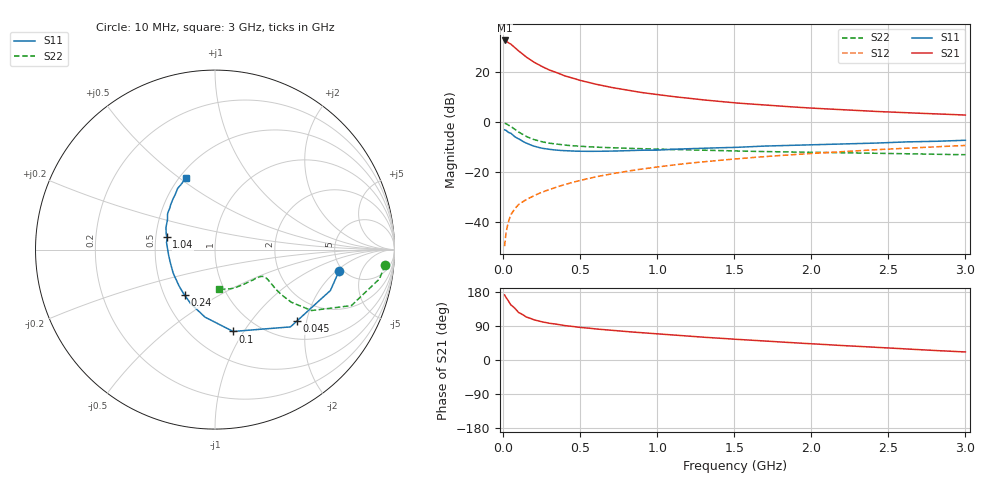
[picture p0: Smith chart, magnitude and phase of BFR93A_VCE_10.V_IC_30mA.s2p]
! Infineon Technologies  Discrete & RF Semiconductors
! BFR93A
! VCE =  10. V,  IC =  30 mA
! Common Emitter S-Parameters:  Nov 2015
# GHz  S  MA  R  50
!  f  S11  S21  S12  S22
! GHz  MAG  ANG  MAG  ANG  MAG  ANG  MAG  ANG
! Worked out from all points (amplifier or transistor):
!   180 points, 10 MHz to 3 GHz, reference 50 ohm
!   highest |S21| = 32.9 dB at 10 MHz (marker M1)
!   |S21| within 3 dB of that: start of sweep to 78.02 MHz
!   unconditionally stable (mu >= 1): 386.1 MHz to 2.74 GHz
!   at 160 MHz: K = 0.73, MSG = 28.3 dB, |S12| = -30.8 dB
!   at 1.22 GHz: K = 1.08, MAG = 11.2 dB, |S12| = -16.4 dB
!   at 3 GHz: K = 0.98, MSG = 6.1 dB, |S12| = -9.4 dB
!   S11 on the Smith chart (normalised r, x): 10 MHz: 4.61, -2.19; 45 MHz: 1.40, -1.76; 100 MHz: 0.77, -0.90; 240 MHz: 0.63, -0.36; 1.04 GHz: 0.57, +0.09; 3 GHz: 0.54, +0.53
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0.01  0.701 -9.9  44.12 171.6  0.0032 83.4  0.9509 -5.2
0.02  0.6822 -19.5  42.98 164.5  0.0061 79.2  0.9308 -10.1
0.045  0.6056 -40.9  37.97 149.1  0.0123 71.7  0.837 -20.1
0.05  0.6018 -45.7  37.35 145.6  0.0136 71.0  0.8217 -22.3
0.1  0.4672 -77.5  27.31 125.4  0.0219 64.1  0.6353 -32.3
0.15  0.3802 -98.5  20.47 113.5  0.0276 63.3  0.5164 -34.6
0.2  0.3302 -114.2  16.16 106.2  0.033 64.6  0.4475 -34.2
0.24  0.3054 -123.5  13.84 102.1  0.0376 65.6  0.4133 -33.3
0.26  0.2968 -127.7  12.86 100.1  0.0398 66.1  0.3994 -32.9
0.3  0.2845 -134.9  11.24 97.0  0.044 67.1  0.3779 -31.8
0.4  0.2674 -150.5  8.562 90.8  0.0555 68.8  0.3447 -29.9
0.52  0.2594 -163.5  6.709 85.3  0.0696 69.5  0.3247 -29.0
0.6  0.2597 -170.7  5.829 82.0  0.0791 69.7  0.3146 -28.9
0.7  0.2618 -177.0  5.028 78.3  0.0909 69.4  0.306 -29.3
0.8  0.2669 177.0  4.424 74.9  0.1025 69.0  0.2989 -30.0
1.02  0.276 166.0  3.523 68.3  0.1277 67.4  0.2867 -32.7
1.04  0.2782 165.1  3.463 67.7  0.1301 67.3  0.2857 -33.0
1.3  0.3001 155.4  2.811 60.2  0.1595 64.9  0.2731 -37.5
1.52  0.3123 148.0  2.427 54.4  0.1836 62.7  0.263 -42.0
2.02  0.3517 134.6  1.907 42.4  0.2367 57.7  0.2473 -53.6
2.52  0.391 123.1  1.593 31.3  0.2898 52.2  0.2353 -67.3
3  0.4327 112.2  1.392 21.2  0.3401 46.8  0.2218 -83.9
